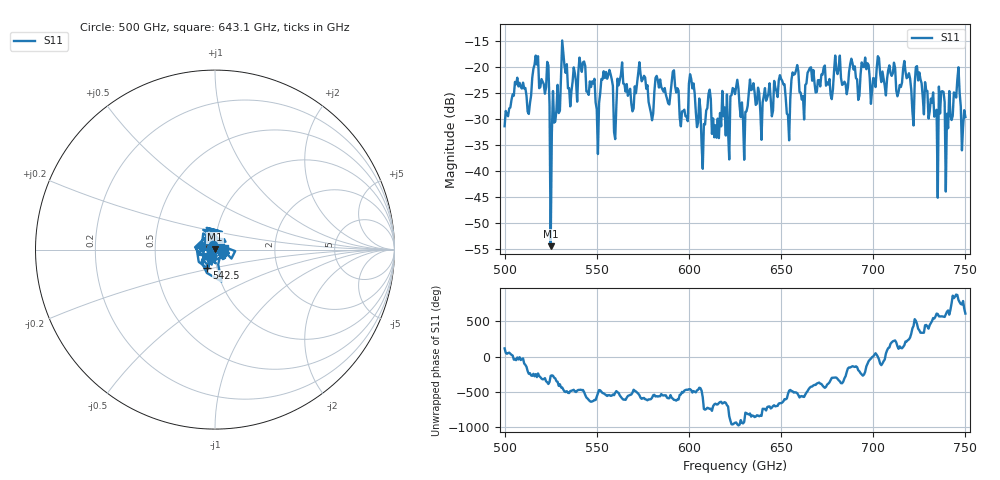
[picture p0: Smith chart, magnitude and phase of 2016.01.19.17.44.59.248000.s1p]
!Created with skrf (http://scikit-rf.org).
# GHz S RI R 50.0
!freq ReS11 ImS11
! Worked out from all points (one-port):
!   401 points, 500 GHz to 750 GHz, reference 50 ohm
!   lowest |S11| = -54.4 dB at 525 GHz (marker M1), VSWR 1.00, Z = 50 + j0.191 ohm
!   |S11| at or under -10 dB: start of sweep to end of sweep
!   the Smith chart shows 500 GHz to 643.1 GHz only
!   S11 on the Smith chart (normalised r, x): 500 GHz: 0.98, +0.05; 542.5 GHz: 0.90, -0.19; 643.1 GHz: 1.11, +0.03
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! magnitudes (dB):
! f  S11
! 500 GHz  -31.3
! 506.9 GHz  -22.0
! 513.1 GHz  -29.0
! 516.9 GHz  -17.7
! 523.1 GHz  -19.0
! 525 GHz  -54.4
! 531.2 GHz  -14.8
! 542.5 GHz  -19.1
! 550.6 GHz  -36.7
! 553.8 GHz  -20.8
! 562.5 GHz  -22.4
! 593.8 GHz  -24.0
! 598.1 GHz  -29.4
! 601.2 GHz  -22.2
! 608.1 GHz  -30.9
! 610.6 GHz  -25.1
! 615 GHz  -33.5
! 625 GHz  -25.2
! 629.4 GHz  -30.2
! 643.1 GHz  -25.1
! 650.6 GHz  -22.6
! 653.8 GHz  -29.2
! 656.2 GHz  -21.0
! 687.5 GHz  -19.4
! 718.8 GHz  -21.9
! 733.8 GHz  -28.7
! 745 GHz  -25.8
! 750 GHz  -29.5
